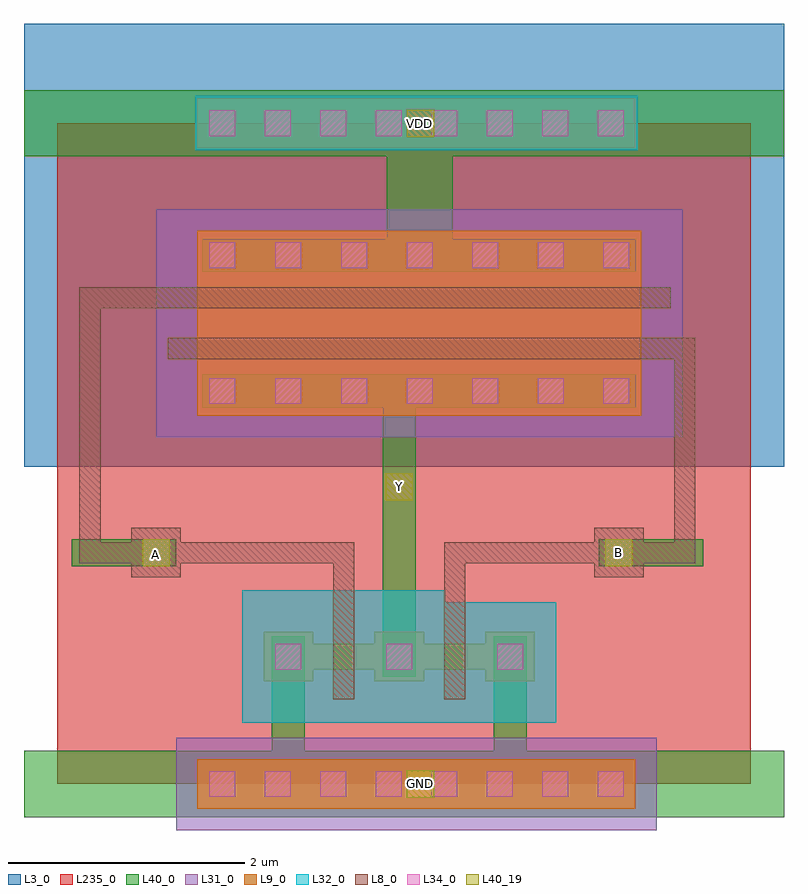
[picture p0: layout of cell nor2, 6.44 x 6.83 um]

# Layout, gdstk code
from math import pi, radians
import gdstk
lib = gdstk.Library(unit=1e-6, precision=1e-09)
def R(c, l, rs):  # rectangles x0, y0, x1, y1
    for r in rs: c.add(gdstk.rectangle(r[:2], r[2:], *l))
def A(c, l, x, y, w, h, nx, ny, dx, dy):  # array of equal rectangles
    R(c, l, [(x+i*dx, y+j*dy, x+i*dx+w, y+j*dy+h) for i in range(nx) for j in range(ny)])
L3_0 = (3, 0)
L8_0 = (8, 0)
L9_0 = (9, 0)
L31_0 = (31, 0)
L32_0 = (32, 0)
L34_0 = (34, 0)
L40_0 = (40, 0)
L40_19 = (40, 19)
L235_0 = (235, 0)

nmos_18_cdns_78229592897 = lib.new_cell('nmos_18_CDNS_782295928970')
R(nmos_18_cdns_78229592897, L8_0, [(0.59,-0.15,0.77,0.1), (0.59,0.1,0.77,0.32), (0.59,0.32,0.77,0.57)])
R(nmos_18_cdns_78229592897, L9_0, [(0,0,0.42,0.42), (0.42,0.1,0.59,0.32), (0.59,0.1,0.77,0.32), (0.77,0.1,0.94,0.32)])
R(nmos_18_cdns_78229592897, L32_0, [(-0.18,-0.35,1.12,0.67)])
R(nmos_18_cdns_78229592897, L34_0, [(0.1,0.1,0.32,0.32)])
R(nmos_18_cdns_78229592897, L40_0, [(0.07,0.04,0.35,0.38)])
nmos_18_cdns_78229592897.add(gdstk.Label('[@instanceName]', (0.68,0.212), layer=77, texttype=7))

pmos_18_cdns_78229592897 = lib.new_cell('pmos_18_CDNS_782295928971')
R(pmos_18_cdns_78229592897, L3_0, [(-0.075,-0.43,1.57,4.19)])
R(pmos_18_cdns_78229592897, L8_0, [(0.48,-0.25,0.66,0), (0.48,0,0.66,3.76), (0.48,3.76,0.66,4.01)])
R(pmos_18_cdns_78229592897, L9_0, [(0.355,0,0.48,3.76), (0.48,0,0.66,3.76), (0.66,0,1.14,3.76)])
R(pmos_18_cdns_78229592897, L31_0, [(0.175,-0.35,1.32,4.11)])
A(pmos_18_cdns_78229592897, L34_0, 0.82, 0.1, 0.22, 0.22, 1, 3, 0, 0.56)
A(pmos_18_cdns_78229592897, L34_0, 0.82, 1.775, 0.22, 0.22, 1, 4, 0, 0.555)
R(pmos_18_cdns_78229592897, L40_0, [(0.79,0.04,1.07,3.72)])
pmos_18_cdns_78229592897.add(gdstk.Label('[@instanceName]', (0.57,1.882), layer=77, texttype=7))

c_pmos_18_cdns_78229592897 = lib.new_cell('pmos_18_CDNS_782295928972')
R(c_pmos_18_cdns_78229592897, L3_0, [(-0.43,-0.43,1.215,4.19)])
R(c_pmos_18_cdns_78229592897, L8_0, [(0.48,-0.25,0.66,0), (0.48,0,0.66,3.76), (0.48,3.76,0.66,4.01)])
R(c_pmos_18_cdns_78229592897, L9_0, [(0,0,0.48,3.76), (0.48,0,0.66,3.76), (0.66,0,0.785,3.76)])
R(c_pmos_18_cdns_78229592897, L31_0, [(-0.18,-0.35,0.965,4.11)])
A(c_pmos_18_cdns_78229592897, L34_0, 0.1, 0.1, 0.22, 0.22, 1, 3, 0, 0.56)
A(c_pmos_18_cdns_78229592897, L34_0, 0.1, 1.775, 0.22, 0.22, 1, 4, 0, 0.555)
R(c_pmos_18_cdns_78229592897, L40_0, [(0.07,0.04,0.35,3.72)])
c_pmos_18_cdns_78229592897.add(gdstk.Label('[@instanceName]', (0.57,1.882), layer=77, texttype=7))

c_nmos_18_cdns_78229592897 = lib.new_cell('nmos_18_CDNS_782295928973')
R(c_nmos_18_cdns_78229592897, L8_0, [(0.59,-0.15,0.77,0.1), (0.59,0.1,0.77,0.32), (0.59,0.32,0.77,0.57)])
R(c_nmos_18_cdns_78229592897, L9_0, [(0,0,0.42,0.42), (0.94,0,1.36,0.42), (0.42,0.1,0.59,0.32), (0.59,0.1,0.77,0.32), (0.77,0.1,0.94,0.32)])
R(c_nmos_18_cdns_78229592897, L32_0, [(-0.18,-0.35,1.54,0.77)])
R(c_nmos_18_cdns_78229592897, L34_0, [(0.1,0.1,0.32,0.32), (1.04,0.1,1.26,0.32)])
R(c_nmos_18_cdns_78229592897, L40_0, [(0.07,0.04,0.35,0.38), (1.01,0.04,1.29,0.38)])
c_nmos_18_cdns_78229592897.add(gdstk.Label('[@instanceName]', (0.68,0.212), layer=77, texttype=7))

m1_po_4x_cdns_7822959289 = lib.new_cell('M1_PO_4X_CDNS_782295928970')
R(m1_po_4x_cdns_7822959289, L8_0, [(-0.21,-0.21,0.21,0.21)])
R(m1_po_4x_cdns_7822959289, L34_0, [(-0.11,-0.11,0.11,0.11)])
R(m1_po_4x_cdns_7822959289, L40_0, [(-0.17,-0.115,0.17,0.115)])

m1_wn_cdns_782295928971 = lib.new_cell('M1_WN_CDNS_782295928971')
R(m1_wn_cdns_782295928971, L3_0, [(-2.035,-0.43,2.035,0.43)])
R(m1_wn_cdns_782295928971, L9_0, [(-1.855,-0.21,1.855,0.21)])
R(m1_wn_cdns_782295928971, L32_0, [(-1.875,-0.23,1.875,0.23)])
A(m1_wn_cdns_782295928971, L34_0, -1.755, -0.11, 0.22, 0.22, 8, 1, 0.47, 0)
R(m1_wn_cdns_782295928971, L40_0, [(-1.815,-0.17,1.815,0.17)])

ptap_lg_cdns_78229592897 = lib.new_cell('PTAP_LG_CDNS_782295928972')
R(ptap_lg_cdns_78229592897, L9_0, [(-1.855,-0.21,1.855,0.21)])
R(ptap_lg_cdns_78229592897, L31_0, [(-2.035,-0.39,2.035,0.39)])
A(ptap_lg_cdns_78229592897, L34_0, -1.755, -0.11, 0.22, 0.22, 8, 1, 0.47, 0)
R(ptap_lg_cdns_78229592897, L40_0, [(-1.815,-0.17,1.815,0.17)])

nor2 = lib.new_cell('nor2')
R(nor2, L3_0, [(-0.28,2.69,6.16,6.44)])
R(nor2, L40_0, [(-0.28,-0.28,6.16,0.28), (-0.28,5.32,6.16,5.88)])
R(nor2, L40_19, [(2.965,-0.115,3.195,0.115), (0.725,1.845,0.955,2.075), (4.645,1.845,4.875,2.075), (2.785,2.405,3.015,2.635), (2.965,5.485,3.195,5.715)])
R(nor2, L235_0, [(0,0,5.88,5.6)])
nor2.add(gdstk.FlexPath([(4.76,1.96),(5.475,1.96)], 0.23, ends="flush", simple_path=True, layer=40, datatype=0))  # L40_0
nor2.add(gdstk.FlexPath([(0.84,1.96),(0.125,1.96)], 0.23, ends="flush", simple_path=True, layer=40, datatype=0))  # L40_0
nor2.add(gdstk.FlexPath([(3.075,5.6),(3.075,4.62)], 0.56, ends=(0.28, 0), simple_path=True, layer=40, datatype=0))  # L40_0
nor2.add(gdstk.FlexPath([(3.84,1.25),(3.84,-0.28)], 0.28, ends="flush", simple_path=True, layer=40, datatype=0))  # L40_0
nor2.add(gdstk.FlexPath([(1.96,1.25),(1.96,-0.28)], 0.28, ends="flush", simple_path=True, layer=40, datatype=0))  # L40_0
nor2.add(gdstk.FlexPath([(2.9,1.25),(2.9,3.47)], 0.28, ends="flush", simple_path=True, layer=40, datatype=0))  # L40_0
nor2.add(gdstk.FlexPath([(4.76,1.96),(5.32,1.96)], 0.18, ends=(0, 0.09), simple_path=True, layer=8, datatype=0))  # L8_0
nor2.add(gdstk.FlexPath([(0.28,1.96),(0.84,1.96)], 0.18, ends="flush", simple_path=True, layer=8, datatype=0))  # L8_0
nor2.add(gdstk.FlexPath([(5.32,3.69),(5.2,3.69)], 0.18, ends=(0.09, 0), simple_path=True, layer=8, datatype=0))  # L8_0
nor2.add(gdstk.FlexPath([(5.32,1.96),(5.32,3.69)], 0.18, ends="extended", simple_path=True, layer=8, datatype=0))  # L8_0
nor2.add(gdstk.FlexPath([(3.37,1.96),(4.76,1.96)], 0.18, ends=(0.09, 0), simple_path=True, layer=8, datatype=0))  # L8_0
nor2.add(gdstk.FlexPath([(3.37,1.44),(3.37,1.96)], 0.18, ends=(0, 0.09), simple_path=True, layer=8, datatype=0))  # L8_0
nor2.add(gdstk.FlexPath([(2.43,1.96),(2.43,1.44)], 0.18, ends=(0.09, 0), simple_path=True, layer=8, datatype=0))  # L8_0
nor2.add(gdstk.FlexPath([(0.84,1.96),(2.43,1.96)], 0.18, ends=(0, 0.09), simple_path=True, layer=8, datatype=0))  # L8_0
nor2.add(gdstk.FlexPath([(0.28,4.12),(0.28,1.96)], 0.18, ends="extended", simple_path=True, layer=8, datatype=0))  # L8_0
nor2.add(gdstk.FlexPath([(0.94,4.12),(0.28,4.12)], 0.18, ends=(0, 0.09), simple_path=True, layer=8, datatype=0))  # L8_0
nor2.add(gdstk.Reference(nmos_18_cdns_78229592897, (4.05,0.87), rotation=pi, x_reflection=True))
nor2.add(gdstk.Reference(pmos_18_cdns_78229592897, (1.19,4.26), rotation=3*pi/2))
nor2.add(gdstk.Reference(c_pmos_18_cdns_78229592897, (1.19,4.69), rotation=3*pi/2))
nor2.add(gdstk.Reference(c_nmos_18_cdns_78229592897, (1.75,0.87)))
nor2.add(gdstk.Reference(m1_po_4x_cdns_7822959289, (4.76,1.96)))
nor2.add(gdstk.Reference(m1_po_4x_cdns_7822959289, (0.84,1.96)))
nor2.add(gdstk.Reference(m1_wn_cdns_782295928971, (3.045,5.6)))
nor2.add(gdstk.Reference(ptap_lg_cdns_78229592897, (3.045,0)))
nor2.add(gdstk.Label('Y', (2.905,2.52), layer=40, texttype=7))
nor2.add(gdstk.Label('B', (4.76,1.96), layer=40, texttype=7))
nor2.add(gdstk.Label('A', (0.835,1.945), layer=40, texttype=7))
nor2.add(gdstk.Label('GND', (3.08,0.005), layer=40, texttype=7))
nor2.add(gdstk.Label('VDD', (3.07,5.595), layer=40, texttype=7))

lib.write_gds('nor2.gds')
